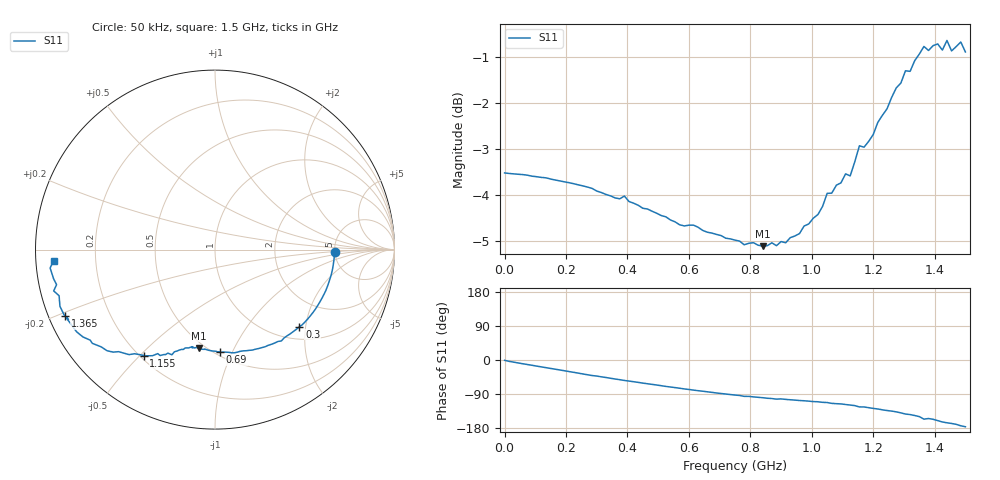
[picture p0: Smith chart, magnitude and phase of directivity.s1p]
! Created with skrf 1.8.0 (http://scikit-rf.org).
# Hz S RI R 50.0
!freq ReS11 ImS11
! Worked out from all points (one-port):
!   101 points, 50 kHz to 1.5 GHz, reference 50 ohm
!   lowest |S11| = -5.1 dB at 840 MHz (marker M1), VSWR 3.49, Z = 23.2 - j36.7 ohm
!   |S11| at or under -10 dB: nowhere
!   S11 on the Smith chart (normalised r, x): 50 kHz: 4.99, -0.19; 300 MHz: 1.28, -1.85; 690 MHz: 0.53, -0.90; 1.155 GHz: 0.21, -0.51; 1.365 GHz: 0.05, -0.21; 1.5 GHz: 0.05, -0.03
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50000  0.6664 -0.0107
1.050465e8  0.634 -0.1837
1.950435e8  0.5731 -0.3104
3.0004e8  0.4708 -0.429
3.750375e8  0.3848 -0.4922
4.650345e8  0.2798 -0.5409
5.70031e8  0.156 -0.5643
6.90027e8  0.029 -0.5708
7.50025e8  -0.025 -0.5629
8.40022e8  -0.0916 -0.5474
9.450185e8  -0.1554 -0.5477
1.050015e9  -0.2399 -0.5861
1.125012e9  -0.319 -0.5795
1.155012e9  -0.3969 -0.5926
1.18501e9  -0.4218 -0.5847
1.275008e9  -0.6015 -0.5635
1.305006e9  -0.6835 -0.5223
1.320006e9  -0.6951 -0.5046
1.350005e9  -0.7714 -0.4574
1.365004e9  -0.8358 -0.37
1.380004e9  -0.8162 -0.3909
1.395004e9  -0.8397 -0.3659
1.425002e9  -0.8686 -0.2568
1.440002e9  -0.8989 -0.2301
1.455002e9  -0.8826 -0.1954
1.470001e9  -0.8991 -0.1632
1.485e9  -0.9186 -0.1026
1.5e9  -0.8995 -0.0614
